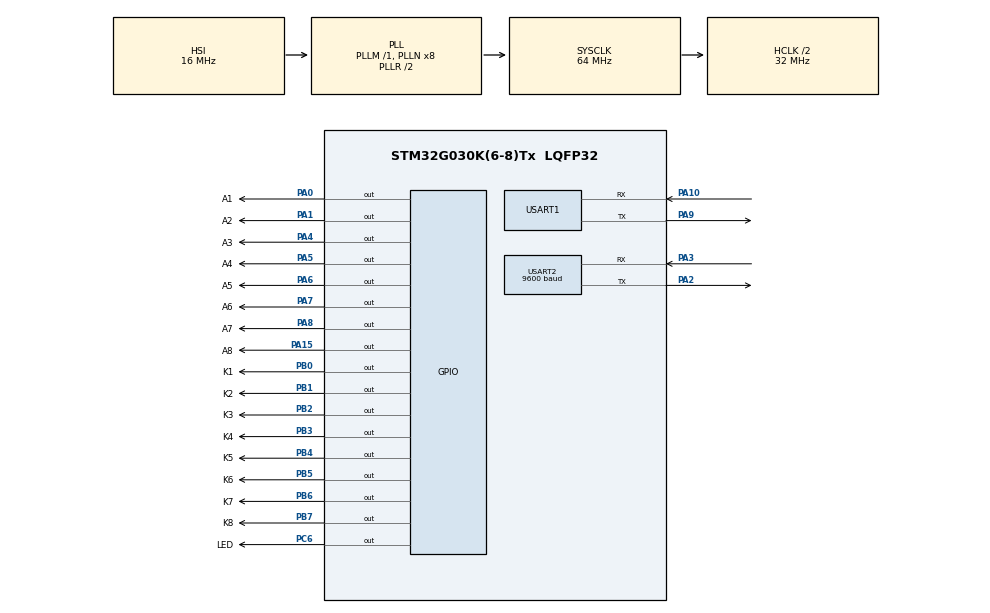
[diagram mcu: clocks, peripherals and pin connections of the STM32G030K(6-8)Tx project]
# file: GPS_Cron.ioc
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Mcu.Family=STM32G0
Mcu.Name=STM32G030K(6-8)Tx
Mcu.Package=LQFP32
NVIC.TIM17_IRQn=true\:0\:0\:false\:false\:true\:true\:true\:true
NVIC.USART2_IRQn=true\:0\:0\:false\:false\:true\:true\:true\:true
PA0.GPIO_Label=A1
PA0.Signal=GPIO_Output
PA1.GPIO_Label=A2
PA1.Signal=GPIO_Output
PA10.Mode=Asynchronous
PA10.Signal=USART1_RX
PA13.Mode=Serial_Wire
PA13.Signal=SYS_SWDIO
PA14-BOOT0.Mode=Serial_Wire
PA14-BOOT0.Signal=SYS_SWCLK
PA15.GPIO_Label=A8
PA15.Signal=GPIO_Output
PA2.Mode=Asynchronous
PA2.Signal=USART2_TX
PA3.Mode=Asynchronous
PA3.Signal=USART2_RX
PA4.GPIO_Label=A3
PA4.Signal=GPIO_Output
PA5.GPIO_Label=A4
PA5.Signal=GPIO_Output
PA6.GPIO_Label=A5
PA6.Signal=GPIO_Output
PA7.GPIO_Label=A6
PA7.Signal=GPIO_Output
PA8.GPIO_Label=A7
PA8.Signal=GPIO_Output
PA9.Mode=Asynchronous
PA9.Signal=USART1_TX
PB0.GPIO_Label=K1
PB0.Signal=GPIO_Output
PB1.GPIO_Label=K2
PB1.Signal=GPIO_Output
PB2.GPIO_Label=K3
PB2.Signal=GPIO_Output
PB3.GPIO_Label=K4
PB3.Signal=GPIO_Output
PB4.GPIO_Label=K5
PB4.Signal=GPIO_Output
PB5.GPIO_Label=K6
PB5.Signal=GPIO_Output
PB6.GPIO_Label=K7
PB6.Signal=GPIO_Output
PB7.GPIO_Label=K8
PB7.Signal=GPIO_Output
PC14-OSC32_IN\ (PC14).Mode=HSE-External-Clock-Source
PC14-OSC32_IN\ (PC14).Signal=RCC_OSC_IN
PC15-OSC32_OUT\ (PC15).Mode=OSC enable
PC15-OSC32_OUT\ (PC15).Signal=RCC_OSC_EN
PC6.GPIO_Label=LED
PC6.Signal=GPIO_Output
ProjectManager.HeapSize=0x200
ProjectManager.StackSize=0x400
ProjectManager.TargetToolchain=STM32CubeIDE
RCC.ADCFreq_Value=64000000
RCC.AHBCLKDivider=RCC_SYSCLK_DIV2
RCC.AHBFreq_Value=32000000
RCC.CortexFreq_Value=32000000
RCC.EXTERNAL_CLOCK_VALUE=12288000
RCC.HCLKFreq_Value=32000000
RCC.HSE_VALUE=8000000
RCC.HSI_VALUE=16000000
RCC.LSE_VALUE=32768
RCC.SYSCLKFreq_VALUE=64000000
RCC.SYSCLKSource=RCC_SYSCLKSOURCE_PLLCLK
RCC.VCOOutputFreq_Value=128000000
TIM17.AutoReloadPreload=TIM_AUTORELOAD_PRELOAD_ENABLE
TIM17.Period=499
TIM17.Prescaler=31999
USART1.VirtualMode-Asynchronous=VM_ASYNC
USART2.BaudRate=9600
USART2.VirtualMode-Asynchronous=VM_ASYNC
VP_TIM17_VS_ClockSourceINT.Mode=Enable_Timer
board=custom

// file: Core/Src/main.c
/* USER CODE BEGIN Header */
/**
  ******************************************************************************
  * @file           : main.c
  * @brief          : Main program body
  ******************************************************************************
  * @attention
  *
  * Copyright (c) 2022 STMicroelectronics.
  * All rights reserved.
  *
  * This software is licensed under terms that can be found in the LICENSE file
  * in the root directory of this software component.
  * If no LICENSE file comes with this software, it is provided AS-IS.
  *
  ******************************************************************************
  */
/* USER CODE END Header */
#include "main.h"

/* USER CODE BEGIN Includes */
#include "nmea.h"
/* USER CODE END Includes */

/* USER CODE BEGIN PV */
nmea_t gps;
uint8_t minute = 0;
uint8_t hour = 0;
uint8_t sec = 0;
uint8_t month = 0;
uint8_t day = 0;
uint8_t year = 0;
uint8_t temp = 0;
uint32_t hexPage;
float latitude = 0;
float longitude = 0;
float altitude = 0;
char out[100];

/*TIMETABLE FOR ALL BANDS*/
int time80[] = {2,22,42};
int time40[] = {6,26,46};
int time30[] = {8,28,48};
int time20[] = {10,30,50};
int time17[] = {12,32,52};
int time15[] = {14,34,54};
int time12[] = {16,36,56};
int time10[] = {18,38,58};
int timeOff1[] = {0,20,40};
int timeOff2[] = {4,24,44};

/* USER CODE END PV */

void SystemClock_Config(void);
static void MX_GPIO_Init(void);
static void MX_TIM17_Init(void);
static void MX_USART1_UART_Init(void);
static void MX_USART2_UART_Init(void);
/* USER CODE BEGIN PFP */
void USART1_Send (char chr){
	while (!(USART1->ISR & USART_ISR_TC));
	USART1->TDR = chr;
}

void USART1_Send_String (char* str){
	uint8_t i = 0;
	while(str[i])
	USART1_Send (str[i++]);
}

void USART1_Send_IntToString (uint16_t data){
	char buffer[sizeof(uint16_t) * 8 + 1];
	utoa(data, buffer, 10);
	USART1_Send_String(buffer);
	USART1_Send_String(" \r\n");
}

void SendGpsDataToUsart1() {
	if (nmea_available(&gps)) {
		nmea_gnss_time_h(&gps, &hour);
		nmea_gnss_time_m(&gps, &minute);
		nmea_gnss_time_s(&gps, &sec);
		nmea_gnss_date_d(&gps, &day);
		nmea_gnss_date_m(&gps, &month);
		nmea_gnss_date_y(&gps, &year);
		nmea_gnss_latitude_deg(&gps, &latitude);
		nmea_gnss_longitude_deg(&gps, &longitude);
		nmea_gnss_altitude_m(&gps, &altitude);
		sprintf(out, "Time: %d:%d:%d\r\n Position: %3.2f %3.2f\r\n Date: %d.%d.%d\r\n", hour,
				minute, sec, latitude, longitude, day, month, year);
		USART1_Send_String(out);
		nmea_available_reset(&gps);
	}
}

void SetBootEnable() {
	FLASH->KEYR = (uint32_t) 0x45670123;
	FLASH->KEYR = (uint32_t) 0xCDEF89AB;
	LL_mDelay(1);
	FLASH->OPTKEYR = (uint32_t) 0x08192A3B;
	FLASH->OPTKEYR = (uint32_t) 0x4C5D6E7F;
	LL_mDelay(1);
	FLASH->CR &= ~FLASH_CR_OPTLOCK;
	FLASH->OPTR |= FLASH_OPTR_nBOOT1;
	FLASH->OPTR &= ~FLASH_OPTR_nBOOT_SEL;
	LL_mDelay(1);
	FLASH->CR |= FLASH_CR_OPTSTRT;
	LL_mDelay(1);
	FLASH->CR |= FLASH_CR_OBL_LAUNCH;
	LL_mDelay(1);
	FLASH->CR |= FLASH_CR_LOCK;
}

uint32_t getHexAddressPage(int dataPage){
	uint32_t bits       = PAGE_SECTOR * dataPage;
	uint32_t hexAddress = FLASH_INIT + bits;
	return hexAddress;
}

void memoryPageErase(uint32_t memoryPage){
	HAL_StatusTypeDef eraseHandler = HAL_FLASH_Unlock();

	eraseHandler = FLASH_WaitForLastOperation(500);
	__HAL_FLASH_CLEAR_FLAG(FLASH_FLAG_EOP | FLASH_FLAG_WRPERR | FLASH_FLAG_PGAERR);
	FLASH_PageErase(FLASH_BANK_1, memoryPage);

	eraseHandler = FLASH_WaitForLastOperation(500);
	CLEAR_BIT(FLASH->CR, FLASH_CR_PER);
	HAL_FLASH_Lock();
}

void WriteToEEPROM (uint32_t hexPage, int dataA){
	memoryPageErase(DATA_PAGE);
	HAL_FLASH_Unlock();
	HAL_FLASH_Program(TYPEPROGRAM_DOUBLEWORD, hexPage, dataA);
	HAL_FLASH_Lock();
}

uint32_t ReadFromEEPROM (uint32_t hexAddress){
	return *(uint32_t*)hexAddress;
}

void ResetAllOutputs() {
	LL_GPIO_ResetOutputPin(K1_GPIO_Port, K1_Pin);
	LL_GPIO_ResetOutputPin(K2_GPIO_Port, K2_Pin);
	LL_GPIO_ResetOutputPin(K3_GPIO_Port, K3_Pin);
	LL_GPIO_ResetOutputPin(K4_GPIO_Port, K4_Pin);
	LL_GPIO_ResetOutputPin(K5_GPIO_Port, K5_Pin);
	LL_GPIO_ResetOutputPin(K6_GPIO_Port, K6_Pin);
	LL_GPIO_ResetOutputPin(K7_GPIO_Port, K7_Pin);
	LL_GPIO_ResetOutputPin(K8_GPIO_Port, K8_Pin);
	LL_GPIO_ResetOutputPin(A1_GPIO_Port, A1_Pin);
	LL_GPIO_ResetOutputPin(A2_GPIO_Port, A2_Pin);
	LL_GPIO_ResetOutputPin(A3_GPIO_Port, A3_Pin);
	LL_GPIO_ResetOutputPin(A4_GPIO_Port, A4_Pin);
	LL_GPIO_ResetOutputPin(A5_GPIO_Port, A5_Pin);
	LL_GPIO_ResetOutputPin(A6_GPIO_Port, A6_Pin);
	LL_GPIO_ResetOutputPin(A7_GPIO_Port, A7_Pin);
	LL_GPIO_ResetOutputPin(A8_GPIO_Port, A8_Pin);
}

int IsTime80(){
	if ((minute == (time80[0]-1) || minute == (time80[1]-1) || minute == (time80[2]-1)) && (sec == 59)) return 1;
	if (minute>=time80[0] && minute<timeOff2[0]) return 1;
	if (minute>=time80[1] && minute<timeOff2[1]) return 1;
	if (minute>=time80[2] && minute<timeOff2[2]) return 1;
	return 0;
}

int IsTime40(){
	if ((minute == (time40[0]-1) || minute == (time40[1]-1) || minute == (time40[2]-1)) && (sec == 59)) return 1;
	if (minute>=time40[0] && minute<time30[0]) return 1;
	if (minute>=time40[1] && minute<time30[1]) return 1;
	if (minute>=time40[2] && minute<time30[2]) return 1;
	return 0;
}

int IsTime30(){
	if ((minute == (time30[0]-1) || minute == (time30[1]-1) || minute == (time30[2]-1)) && (sec == 59)) return 1;
	if (minute>=time30[0] && minute<time20[0]) return 1;
	if (minute>=time30[1] && minute<time20[1]) return 1;
	if (minute>=time30[2] && minute<time20[2]) return 1;
	return 0;
}

int IsTime20(){
	if ((minute == (time20[0]-1) || minute == (time20[1]-1)  || minute == (time20[2]-1) ) && (sec == 59)) return 1;
	if (minute>=time20[0] && minute<time17[0]) return 1;
	if (minute>=time20[1] && minute<time17[1]) return 1;
	if (minute>=time20[2] && minute<time17[2]) return 1;
	return 0;
}

int IsTime17(){
	if ((minute == (time17[0]-1) || minute == (time17[1]-1) || minute == (time17[2]-1)) && (sec == 59)) return 1;
	if (minute>=time17[0] && minute<time15[0]) return 1;
	if (minute>=time17[1] && minute<time15[1]) return 1;
	if (minute>=time17[2] && minute<time15[2]) return 1;
	return 0;
}

int IsTime15(){
	if ((minute == (time15[0]-1) || minute == (time15[1]-1) || minute == (time15[2]-1)) && (sec == 59)) return 1;
	if (minute>=time15[0] && minute<time12[0]) return 1;
	if (minute>=time15[1] && minute<time12[1]) return 1;
	if (minute>=time15[2] && minute<time12[2]) return 1;
	return 0;
}

int IsTime12(){
	if ((minute == (time12[0]-1) || minute == (time12[1]-1) || minute == (time12[2]-1)) && (sec == 59)) return 1;
	if (minute>=time12[0] && minute<time10[0]) return 1;
	if (minute>=time12[1] && minute<time10[1]) return 1;
	if (minute>=time12[2] && minute<time10[2]) return 1;
	return 0;
}

int IsTime10(){
	if ((minute == (time10[0]-1) || minute == (time10[1]-1) || minute == (time10[2]-1) ) && (sec == 59)) return 1;
	if (minute>=time10[0] && minute<timeOff1[0]) return 1;
	if (minute>=time10[1] && minute<timeOff1[1]) return 1;
	if (minute>=time10[2] && minute<timeOff1[2]) return 1;
	if (minute<2) return 1;
	return 0;
}

int IsTimeOff() {
	if ((minute == (timeOff1[0] - 1) || minute == (timeOff1[1] - 1)
			|| minute == (timeOff1[2] - 1)) && (sec == 59))
		return 1;
	if (minute >= timeOff1[0] && minute < time80[0])
		return 1;
	if (minute >= timeOff1[1] && minute < time80[1])
		return 1;
	if (minute >= timeOff1[2] && minute < time80[2])
		return 1;
	if (minute < 2)
		return 1;

	if ((minute == (timeOff2[0] - 1) || minute == (timeOff2[1] - 1)
			|| minute == (timeOff2[2] - 1)) && (sec == 59))
		return 1;
	if (minute >= timeOff2[0] && minute < time40[0])
		return 1;
	if (minute >= timeOff2[1] && minute < time40[1])
		return 1;
	if (minute >= timeOff2[2] && minute < time40[2])
		return 1;
	if (minute < 2)
		return 1;
	return 0;
}

void WSPR_Schedule() {
	if (IsTime80()) {
		ResetAllOutputs();
		LL_GPIO_SetOutputPin(K1_GPIO_Port, K1_Pin);
		LL_GPIO_SetOutputPin(A1_GPIO_Port, A1_Pin);
	}
	if (IsTime40()) {
		ResetAllOutputs();
		LL_GPIO_SetOutputPin(K2_GPIO_Port, K2_Pin);
		LL_GPIO_SetOutputPin(A2_GPIO_Port, A2_Pin);
	}
	if (IsTime30()) {
		ResetAllOutputs();
		LL_GPIO_SetOutputPin(K3_GPIO_Port, K3_Pin);
		LL_GPIO_SetOutputPin(A3_GPIO_Port, A3_Pin);
	}
	if (IsTime20()) {
		ResetAllOutputs();
		LL_GPIO_SetOutputPin(K4_GPIO_Port, K4_Pin);
		LL_GPIO_SetOutputPin(A4_GPIO_Port, A4_Pin);
	}
	if (IsTime17()) {
		ResetAllOutputs();
		LL_GPIO_SetOutputPin(K5_GPIO_Port, K5_Pin);
		LL_GPIO_SetOutputPin(A5_GPIO_Port, A5_Pin);
	}
	if (IsTime15()) {
		ResetAllOutputs();
		LL_GPIO_SetOutputPin(K6_GPIO_Port, K6_Pin);
		LL_GPIO_SetOutputPin(A6_GPIO_Port, A6_Pin);
	}
	if (IsTime12()) {
		ResetAllOutputs();
		LL_GPIO_SetOutputPin(K7_GPIO_Port, K7_Pin);
		LL_GPIO_SetOutputPin(A7_GPIO_Port, A7_Pin);
	}
	if (IsTime10()) {
		ResetAllOutputs();
		LL_GPIO_SetOutputPin(K8_GPIO_Port, K8_Pin);
		LL_GPIO_SetOutputPin(A8_GPIO_Port, A8_Pin);
	}
	if (IsTimeOff()) {
		ResetAllOutputs();
	}

}

/* USER CODE END PFP */

int main(void)
{

  /* MCU Configuration--------------------------------------------------------*/

  /* Reset of all peripherals, Initializes the Flash interface and the Systick. */
  HAL_Init();

  /* Configure the system clock */
  SystemClock_Config();

  /* Initialize all configured peripherals */
  MX_GPIO_Init();
  MX_TIM17_Init();
  MX_USART1_UART_Init();
  MX_USART2_UART_Init();
  /* USER CODE BEGIN 2 */
  nmea_init(&gps, USART2, 1024);
  LL_TIM_EnableCounter(TIM17);
  LL_TIM_EnableIT_UPDATE(TIM17);
  hexPage = getHexAddressPage(DATA_PAGE);
  WriteToEEPROM(hexPage, 123);
  temp = ReadFromEEPROM(hexPage);
  //SetBootEnable();
  /* USER CODE END 2 */

  /* Infinite loop */
  /* USER CODE BEGIN WHILE */
	while (1) {
		nmea_loop(&gps);
		SendGpsDataToUsart1();
		WSPR_Schedule();
		LL_mDelay(300);

		/* USER CODE END WHILE */

	}
}

void SystemClock_Config(void)
{
  RCC_OscInitTypeDef RCC_OscInitStruct = {0};
  RCC_ClkInitTypeDef RCC_ClkInitStruct = {0};

  /** Configure the main internal regulator output voltage
  */
  HAL_PWREx_ControlVoltageScaling(PWR_REGULATOR_VOLTAGE_SCALE1);

  /** Initializes the RCC Oscillators according to the specified parameters
  * in the RCC_OscInitTypeDef structure.
  */
  RCC_OscInitStruct.OscillatorType = RCC_OSCILLATORTYPE_HSI;
  RCC_OscInitStruct.HSIState = RCC_HSI_ON;
  RCC_OscInitStruct.HSIDiv = RCC_HSI_DIV1;
  RCC_OscInitStruct.HSICalibrationValue = RCC_HSICALIBRATION_DEFAULT;
  RCC_OscInitStruct.PLL.PLLState = RCC_PLL_ON;
  RCC_OscInitStruct.PLL.PLLSource = RCC_PLLSOURCE_HSI;
  RCC_OscInitStruct.PLL.PLLM = RCC_PLLM_DIV1;
  RCC_OscInitStruct.PLL.PLLN = 8;
  RCC_OscInitStruct.PLL.PLLP = RCC_PLLP_DIV2;
  RCC_OscInitStruct.PLL.PLLR = RCC_PLLR_DIV2;
  if (HAL_RCC_OscConfig(&RCC_OscInitStruct) != HAL_OK)
  {
    Error_Handler();
  }

  /** Initializes the CPU, AHB and APB buses clocks
  */
  RCC_ClkInitStruct.ClockType = RCC_CLOCKTYPE_HCLK|RCC_CLOCKTYPE_SYSCLK
                              |RCC_CLOCKTYPE_PCLK1;
  RCC_ClkInitStruct.SYSCLKSource = RCC_SYSCLKSOURCE_PLLCLK;
  RCC_ClkInitStruct.AHBCLKDivider = RCC_SYSCLK_DIV2;
  RCC_ClkInitStruct.APB1CLKDivider = RCC_HCLK_DIV1;

  if (HAL_RCC_ClockConfig(&RCC_ClkInitStruct, FLASH_LATENCY_1) != HAL_OK)
  {
    Error_Handler();
  }
}

static void MX_TIM17_Init(void)
{

  LL_TIM_InitTypeDef TIM_InitStruct = {0};

  /* Peripheral clock enable */
  LL_APB2_GRP1_EnableClock(LL_APB2_GRP1_PERIPH_TIM17);

  /* TIM17 interrupt Init */
  NVIC_SetPriority(TIM17_IRQn, 0);
  NVIC_EnableIRQ(TIM17_IRQn);

  TIM_InitStruct.Prescaler = 31999;
  TIM_InitStruct.CounterMode = LL_TIM_COUNTERMODE_UP;
  TIM_InitStruct.Autoreload = 499;
  TIM_InitStruct.ClockDivision = LL_TIM_CLOCKDIVISION_DIV1;
  TIM_InitStruct.RepetitionCounter = 0;
  LL_TIM_Init(TIM17, &TIM_InitStruct);
  LL_TIM_EnableARRPreload(TIM17);

}

static void MX_USART1_UART_Init(void)
{

  LL_USART_InitTypeDef USART_InitStruct = {0};

  LL_GPIO_InitTypeDef GPIO_InitStruct = {0};
  RCC_PeriphCLKInitTypeDef PeriphClkInit = {0};

  /** Initializes the peripherals clocks
  */
  PeriphClkInit.PeriphClockSelection = RCC_PERIPHCLK_USART1;
  PeriphClkInit.Usart1ClockSelection = RCC_USART1CLKSOURCE_PCLK1;
  if (HAL_RCCEx_PeriphCLKConfig(&PeriphClkInit) != HAL_OK)
  {
    Error_Handler();
  }

  /* Peripheral clock enable */
  LL_APB2_GRP1_EnableClock(LL_APB2_GRP1_PERIPH_USART1);

  LL_IOP_GRP1_EnableClock(LL_IOP_GRP1_PERIPH_GPIOA);
  /**USART1 GPIO Configuration
  PA9   ------> USART1_TX
  PA10   ------> USART1_RX
  */
  GPIO_InitStruct.Pin = LL_GPIO_PIN_9;
  GPIO_InitStruct.Mode = LL_GPIO_MODE_ALTERNATE;
  GPIO_InitStruct.Speed = LL_GPIO_SPEED_FREQ_LOW;
  GPIO_InitStruct.OutputType = LL_GPIO_OUTPUT_PUSHPULL;
  GPIO_InitStruct.Pull = LL_GPIO_PULL_NO;
  GPIO_InitStruct.Alternate = LL_GPIO_AF_1;
  LL_GPIO_Init(GPIOA, &GPIO_InitStruct);

  GPIO_InitStruct.Pin = LL_GPIO_PIN_10;
  GPIO_InitStruct.Mode = LL_GPIO_MODE_ALTERNATE;
  GPIO_InitStruct.Speed = LL_GPIO_SPEED_FREQ_LOW;
  GPIO_InitStruct.OutputType = LL_GPIO_OUTPUT_PUSHPULL;
  GPIO_InitStruct.Pull = LL_GPIO_PULL_NO;
  GPIO_InitStruct.Alternate = LL_GPIO_AF_1;
  LL_GPIO_Init(GPIOA, &GPIO_InitStruct);

  USART_InitStruct.PrescalerValue = LL_USART_PRESCALER_DIV1;
  USART_InitStruct.BaudRate = 115200;
  USART_InitStruct.DataWidth = LL_USART_DATAWIDTH_8B;
  USART_InitStruct.StopBits = LL_USART_STOPBITS_1;
  USART_InitStruct.Parity = LL_USART_PARITY_NONE;
  USART_InitStruct.TransferDirection = LL_USART_DIRECTION_TX_RX;
  USART_InitStruct.HardwareFlowControl = LL_USART_HWCONTROL_NONE;
  USART_InitStruct.OverSampling = LL_USART_OVERSAMPLING_16;
  LL_USART_Init(USART1, &USART_InitStruct);
  LL_USART_SetTXFIFOThreshold(USART1, LL_USART_FIFOTHRESHOLD_1_8);
  LL_USART_SetRXFIFOThreshold(USART1, LL_USART_FIFOTHRESHOLD_1_8);
  LL_USART_DisableFIFO(USART1);
  LL_USART_ConfigAsyncMode(USART1);

  LL_USART_Enable(USART1);

  /* Polling USART1 initialisation */
  while((!(LL_USART_IsActiveFlag_TEACK(USART1))) || (!(LL_USART_IsActiveFlag_REACK(USART1))))
  {
  }

}

static void MX_USART2_UART_Init(void)
{

  LL_USART_InitTypeDef USART_InitStruct = {0};

  LL_GPIO_InitTypeDef GPIO_InitStruct = {0};

  /* Peripheral clock enable */
  LL_APB1_GRP1_EnableClock(LL_APB1_GRP1_PERIPH_USART2);

  LL_IOP_GRP1_EnableClock(LL_IOP_GRP1_PERIPH_GPIOA);
  /**USART2 GPIO Configuration
  PA2   ------> USART2_TX
  PA3   ------> USART2_RX
  */
  GPIO_InitStruct.Pin = LL_GPIO_PIN_2;
  GPIO_InitStruct.Mode = LL_GPIO_MODE_ALTERNATE;
  GPIO_InitStruct.Speed = LL_GPIO_SPEED_FREQ_LOW;
  GPIO_InitStruct.OutputType = LL_GPIO_OUTPUT_PUSHPULL;
  GPIO_InitStruct.Pull = LL_GPIO_PULL_NO;
  GPIO_InitStruct.Alternate = LL_GPIO_AF_1;
  LL_GPIO_Init(GPIOA, &GPIO_InitStruct);

  GPIO_InitStruct.Pin = LL_GPIO_PIN_3;
  GPIO_InitStruct.Mode = LL_GPIO_MODE_ALTERNATE;
  GPIO_InitStruct.Speed = LL_GPIO_SPEED_FREQ_LOW;
  GPIO_InitStruct.OutputType = LL_GPIO_OUTPUT_PUSHPULL;
  GPIO_InitStruct.Pull = LL_GPIO_PULL_NO;
  GPIO_InitStruct.Alternate = LL_GPIO_AF_1;
  LL_GPIO_Init(GPIOA, &GPIO_InitStruct);

  /* USART2 interrupt Init */
  NVIC_SetPriority(USART2_IRQn, 0);
  NVIC_EnableIRQ(USART2_IRQn);

  USART_InitStruct.PrescalerValue = LL_USART_PRESCALER_DIV1;
  USART_InitStruct.BaudRate = 9600;
  USART_InitStruct.DataWidth = LL_USART_DATAWIDTH_8B;
  USART_InitStruct.StopBits = LL_USART_STOPBITS_1;
  USART_InitStruct.Parity = LL_USART_PARITY_NONE;
  USART_InitStruct.TransferDirection = LL_USART_DIRECTION_TX_RX;
  USART_InitStruct.HardwareFlowControl = LL_USART_HWCONTROL_NONE;
  USART_InitStruct.OverSampling = LL_USART_OVERSAMPLING_16;
  LL_USART_Init(USART2, &USART_InitStruct);
  LL_USART_ConfigAsyncMode(USART2);

  LL_USART_Enable(USART2);

  /* Polling USART2 initialisation */
  while((!(LL_USART_IsActiveFlag_TEACK(USART2))) || (!(LL_USART_IsActiveFlag_REACK(USART2))))
  {
  }

}

static void MX_GPIO_Init(void)
{
  LL_GPIO_InitTypeDef GPIO_InitStruct = {0};

  /* GPIO Ports Clock Enable */
  LL_IOP_GRP1_EnableClock(LL_IOP_GRP1_PERIPH_GPIOC);
  LL_IOP_GRP1_EnableClock(LL_IOP_GRP1_PERIPH_GPIOA);
  LL_IOP_GRP1_EnableClock(LL_IOP_GRP1_PERIPH_GPIOB);

  /**/
  LL_GPIO_ResetOutputPin(A1_GPIO_Port, A1_Pin);

  /**/
  LL_GPIO_ResetOutputPin(A2_GPIO_Port, A2_Pin);

  /**/
  LL_GPIO_ResetOutputPin(A3_GPIO_Port, A3_Pin);

  /**/
  LL_GPIO_ResetOutputPin(A4_GPIO_Port, A4_Pin);

  /**/
  LL_GPIO_ResetOutputPin(A5_GPIO_Port, A5_Pin);

  /**/
  LL_GPIO_ResetOutputPin(A6_GPIO_Port, A6_Pin);

  /**/
  LL_GPIO_ResetOutputPin(K1_GPIO_Port, K1_Pin);

  /**/
  LL_GPIO_ResetOutputPin(K2_GPIO_Port, K2_Pin);

  /**/
  LL_GPIO_ResetOutputPin(K3_GPIO_Port, K3_Pin);

  /**/
  LL_GPIO_ResetOutputPin(A7_GPIO_Port, A7_Pin);

  /**/
  LL_GPIO_ResetOutputPin(LED_GPIO_Port, LED_Pin);

  /**/
  LL_GPIO_ResetOutputPin(A8_GPIO_Port, A8_Pin);

  /**/
  LL_GPIO_ResetOutputPin(K4_GPIO_Port, K4_Pin);

  /**/
  LL_GPIO_ResetOutputPin(K5_GPIO_Port, K5_Pin);

  /**/
  LL_GPIO_ResetOutputPin(K6_GPIO_Port, K6_Pin);

  /**/
  LL_GPIO_ResetOutputPin(K7_GPIO_Port, K7_Pin);

  /**/
  LL_GPIO_ResetOutputPin(K8_GPIO_Port, K8_Pin);

  /**/
  GPIO_InitStruct.Pin = LL_GPIO_PIN_15;
  GPIO_InitStruct.Mode = LL_GPIO_MODE_ALTERNATE;
  GPIO_InitStruct.Speed = LL_GPIO_SPEED_FREQ_LOW;
  GPIO_InitStruct.OutputType = LL_GPIO_OUTPUT_PUSHPULL;
  GPIO_InitStruct.Pull = LL_GPIO_PULL_NO;
  GPIO_InitStruct.Alternate = LL_GPIO_AF_1;
  LL_GPIO_Init(GPIOC, &GPIO_InitStruct);

  /**/
  GPIO_InitStruct.Pin = A1_Pin;
  GPIO_InitStruct.Mode = LL_GPIO_MODE_OUTPUT;
  GPIO_InitStruct.Speed = LL_GPIO_SPEED_FREQ_LOW;
  GPIO_InitStruct.OutputType = LL_GPIO_OUTPUT_PUSHPULL;
  GPIO_InitStruct.Pull = LL_GPIO_PULL_NO;
  LL_GPIO_Init(A1_GPIO_Port, &GPIO_InitStruct);

  /**/
  GPIO_InitStruct.Pin = A2_Pin;
  GPIO_InitStruct.Mode = LL_GPIO_MODE_OUTPUT;
  GPIO_InitStruct.Speed = LL_GPIO_SPEED_FREQ_LOW;
  GPIO_InitStruct.OutputType = LL_GPIO_OUTPUT_PUSHPULL;
  GPIO_InitStruct.Pull = LL_GPIO_PULL_NO;
  LL_GPIO_Init(A2_GPIO_Port, &GPIO_InitStruct);

  /**/
  GPIO_InitStruct.Pin = A3_Pin;
  GPIO_InitStruct.Mode = LL_GPIO_MODE_OUTPUT;
  GPIO_InitStruct.Speed = LL_GPIO_SPEED_FREQ_LOW;
  GPIO_InitStruct.OutputType = LL_GPIO_OUTPUT_PUSHPULL;
  GPIO_InitStruct.Pull = LL_GPIO_PULL_NO;
  LL_GPIO_Init(A3_GPIO_Port, &GPIO_InitStruct);

  /**/
  GPIO_InitStruct.Pin = A4_Pin;
  GPIO_InitStruct.Mode = LL_GPIO_MODE_OUTPUT;
  GPIO_InitStruct.Speed = LL_GPIO_SPEED_FREQ_LOW;
  GPIO_InitStruct.OutputType = LL_GPIO_OUTPUT_PUSHPULL;
  GPIO_InitStruct.Pull = LL_GPIO_PULL_NO;
  LL_GPIO_Init(A4_GPIO_Port, &GPIO_InitStruct);

  /**/
  GPIO_InitStruct.Pin = A5_Pin;
  GPIO_InitStruct.Mode = LL_GPIO_MODE_OUTPUT;
  GPIO_InitStruct.Speed = LL_GPIO_SPEED_FREQ_LOW;
  GPIO_InitStruct.OutputType = LL_GPIO_OUTPUT_PUSHPULL;
  GPIO_InitStruct.Pull = LL_GPIO_PULL_NO;
  LL_GPIO_Init(A5_GPIO_Port, &GPIO_InitStruct);

  /**/
  GPIO_InitStruct.Pin = A6_Pin;
  GPIO_InitStruct.Mode = LL_GPIO_MODE_OUTPUT;
  GPIO_InitStruct.Speed = LL_GPIO_SPEED_FREQ_LOW;
  GPIO_InitStruct.OutputType = LL_GPIO_OUTPUT_PUSHPULL;
  GPIO_InitStruct.Pull = LL_GPIO_PULL_NO;
  LL_GPIO_Init(A6_GPIO_Port, &GPIO_InitStruct);

  /**/
  GPIO_InitStruct.Pin = K1_Pin;
  GPIO_InitStruct.Mode = LL_GPIO_MODE_OUTPUT;
  GPIO_InitStruct.Speed = LL_GPIO_SPEED_FREQ_LOW;
  GPIO_InitStruct.OutputType = LL_GPIO_OUTPUT_PUSHPULL;
  GPIO_InitStruct.Pull = LL_GPIO_PULL_NO;
  LL_GPIO_Init(K1_GPIO_Port, &GPIO_InitStruct);

  /**/
  GPIO_InitStruct.Pin = K2_Pin;
  GPIO_InitStruct.Mode = LL_GPIO_MODE_OUTPUT;
  GPIO_InitStruct.Speed = LL_GPIO_SPEED_FREQ_LOW;
  GPIO_InitStruct.OutputType = LL_GPIO_OUTPUT_PUSHPULL;
  GPIO_InitStruct.Pull = LL_GPIO_PULL_NO;
  LL_GPIO_Init(K2_GPIO_Port, &GPIO_InitStruct);

  /**/
  GPIO_InitStruct.Pin = K3_Pin;
  GPIO_InitStruct.Mode = LL_GPIO_MODE_OUTPUT;
  GPIO_InitStruct.Speed = LL_GPIO_SPEED_FREQ_LOW;
  GPIO_InitStruct.OutputType = LL_GPIO_OUTPUT_PUSHPULL;
  GPIO_InitStruct.Pull = LL_GPIO_PULL_NO;
  LL_GPIO_Init(K3_GPIO_Port, &GPIO_InitStruct);

  /**/
  GPIO_InitStruct.Pin = A7_Pin;
  GPIO_InitStruct.Mode = LL_GPIO_MODE_OUTPUT;
  GPIO_InitStruct.Speed = LL_GPIO_SPEED_FREQ_LOW;
  GPIO_InitStruct.OutputType = LL_GPIO_OUTPUT_PUSHPULL;
  GPIO_InitStruct.Pull = LL_GPIO_PULL_NO;
  LL_GPIO_Init(A7_GPIO_Port, &GPIO_InitStruct);

  /**/
  GPIO_InitStruct.Pin = LED_Pin;
  GPIO_InitStruct.Mode = LL_GPIO_MODE_OUTPUT;
  GPIO_InitStruct.Speed = LL_GPIO_SPEED_FREQ_LOW;
  GPIO_InitStruct.OutputType = LL_GPIO_OUTPUT_PUSHPULL;
  GPIO_InitStruct.Pull = LL_GPIO_PULL_NO;
  LL_GPIO_Init(LED_GPIO_Port, &GPIO_InitStruct);

  /**/
  GPIO_InitStruct.Pin = A8_Pin;
  GPIO_InitStruct.Mode = LL_GPIO_MODE_OUTPUT;
  GPIO_InitStruct.Speed = LL_GPIO_SPEED_FREQ_LOW;
  GPIO_InitStruct.OutputType = LL_GPIO_OUTPUT_PUSHPULL;
  GPIO_InitStruct.Pull = LL_GPIO_PULL_NO;
  LL_GPIO_Init(A8_GPIO_Port, &GPIO_InitStruct);

  /**/
  GPIO_InitStruct.Pin = K4_Pin;
  GPIO_InitStruct.Mode = LL_GPIO_MODE_OUTPUT;
  GPIO_InitStruct.Speed = LL_GPIO_SPEED_FREQ_LOW;
  GPIO_InitStruct.OutputType = LL_GPIO_OUTPUT_PUSHPULL;
  GPIO_InitStruct.Pull = LL_GPIO_PULL_NO;
  LL_GPIO_Init(K4_GPIO_Port, &GPIO_InitStruct);

  /**/
  GPIO_InitStruct.Pin = K5_Pin;
  GPIO_InitStruct.Mode = LL_GPIO_MODE_OUTPUT;
  GPIO_InitStruct.Speed = LL_GPIO_SPEED_FREQ_LOW;
  GPIO_InitStruct.OutputType = LL_GPIO_OUTPUT_PUSHPULL;
  GPIO_InitStruct.Pull = LL_GPIO_PULL_NO;
  LL_GPIO_Init(K5_GPIO_Port, &GPIO_InitStruct);

  /**/
  GPIO_InitStruct.Pin = K6_Pin;
  GPIO_InitStruct.Mode = LL_GPIO_MODE_OUTPUT;
  GPIO_InitStruct.Speed = LL_GPIO_SPEED_FREQ_LOW;
  GPIO_InitStruct.OutputType = LL_GPIO_OUTPUT_PUSHPULL;
  GPIO_InitStruct.Pull = LL_GPIO_PULL_NO;
  LL_GPIO_Init(K6_GPIO_Port, &GPIO_InitStruct);

  /**/
  GPIO_InitStruct.Pin = K7_Pin;
  GPIO_InitStruct.Mode = LL_GPIO_MODE_OUTPUT;
  GPIO_InitStruct.Speed = LL_GPIO_SPEED_FREQ_LOW;
  GPIO_InitStruct.OutputType = LL_GPIO_OUTPUT_PUSHPULL;
  GPIO_InitStruct.Pull = LL_GPIO_PULL_NO;
  LL_GPIO_Init(K7_GPIO_Port, &GPIO_InitStruct);

  /**/
  GPIO_InitStruct.Pin = K8_Pin;
  GPIO_InitStruct.Mode = LL_GPIO_MODE_OUTPUT;
  GPIO_InitStruct.Speed = LL_GPIO_SPEED_FREQ_LOW;
  GPIO_InitStruct.OutputType = LL_GPIO_OUTPUT_PUSHPULL;
  GPIO_InitStruct.Pull = LL_GPIO_PULL_NO;
  LL_GPIO_Init(K8_GPIO_Port, &GPIO_InitStruct);

}

void Error_Handler(void)
{
  __disable_irq();
  while (1)
  {
  }
}
